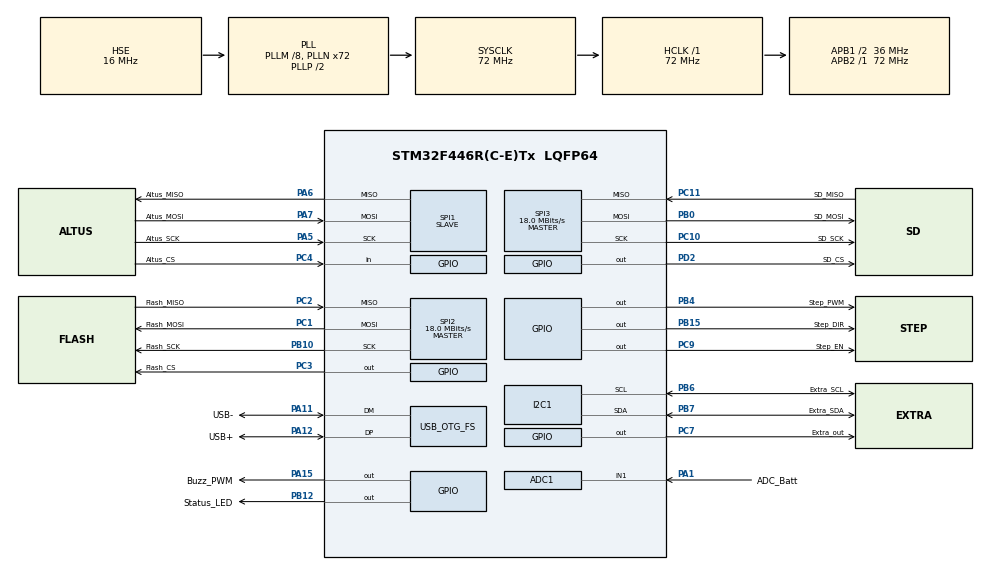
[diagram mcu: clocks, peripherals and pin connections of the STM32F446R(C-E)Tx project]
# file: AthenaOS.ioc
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ADC1.Channel-1\#ChannelRegularConversion=ADC_CHANNEL_1
ADC1.NbrOfConversionFlag=1
ADC1.Rank-1\#ChannelRegularConversion=1
ADC1.SamplingTime-1\#ChannelRegularConversion=ADC_SAMPLETIME_3CYCLES
ADC1.master=1
Mcu.Family=STM32F4
Mcu.Name=STM32F446R(C-E)Tx
Mcu.Package=LQFP64
NVIC.OTG_FS_IRQn=true\:0\:0\:false\:false\:true\:false\:true\:true
NVIC.PriorityGroup=NVIC_PRIORITYGROUP_4
PA1.GPIO_Label=ADC_Batt
PA1.Signal=ADCx_IN1
PA11.GPIO_Label=USB-
PA11.Mode=Device_Only
PA11.Signal=USB_OTG_FS_DM
PA12.GPIO_Label=USB+
PA12.Mode=Device_Only
PA12.Signal=USB_OTG_FS_DP
PA13.Mode=Serial_Wire
PA13.Signal=SYS_JTMS-SWDIO
PA14.Mode=Serial_Wire
PA14.Signal=SYS_JTCK-SWCLK
PA15.GPIO_Label=Buzz_PWM
PA15.GPIO_ModeDefaultOutputPP=GPIO_MODE_OUTPUT_PP
PA15.GPIO_PuPd=GPIO_NOPULL
PA15.GPIO_Speed=GPIO_SPEED_FREQ_HIGH
PA15.Signal=GPIO_Output
PA5.GPIO_Label=Altus_SCK
PA5.Mode=Full_Duplex_Slave
PA5.Signal=SPI1_SCK
PA6.GPIO_Label=Altus_MISO
PA6.Mode=Full_Duplex_Slave
PA6.Signal=SPI1_MISO
PA7.GPIO_Label=Altus_MOSI
PA7.Mode=Full_Duplex_Slave
PA7.Signal=SPI1_MOSI
PB0.GPIO_Label=SD_MOSI
PB0.Mode=Full_Duplex_Master
PB0.Signal=SPI3_MOSI
PB10.GPIO_Label=Flash_SCK
PB10.Mode=Full_Duplex_Master
PB10.Signal=SPI2_SCK
PB12.GPIO_Label=Status_LED
PB12.Signal=GPIO_Output
PB15.GPIO_Label=Step_DIR
PB15.Signal=GPIO_Output
PB4.GPIO_Label=Step_PWM
PB4.Signal=GPIO_Output
PB6.GPIO_Label=Extra_SCL
PB6.Mode=I2C
PB6.Signal=I2C1_SCL
PB7.GPIO_Label=Extra_SDA
PB7.Mode=I2C
PB7.Signal=I2C1_SDA
PC1.GPIO_Label=Flash_MOSI
PC1.Mode=Full_Duplex_Master
PC1.Signal=SPI2_MOSI
PC10.GPIO_Label=SD_SCK
PC10.Mode=Full_Duplex_Master
PC10.Signal=SPI3_SCK
PC11.GPIO_Label=SD_MISO
PC11.Mode=Full_Duplex_Master
PC11.Signal=SPI3_MISO
PC2.GPIO_Label=Flash_MISO
PC2.Mode=Full_Duplex_Master
PC2.Signal=SPI2_MISO
PC3.GPIO_Label=Flash_CS
PC3.Signal=GPIO_Output
PC4.GPIO_Label=Altus_CS
PC4.Signal=GPIO_Input
PC7.GPIO_Label=Extra_out
PC7.Signal=GPIO_Output
PC9.GPIO_Label=Step_EN
PC9.Signal=GPIO_Output
PD2.GPIO_Label=SD_CS
PD2.Signal=GPIO_Output
PH0-OSC_IN.Mode=HSE-External-Oscillator
PH0-OSC_IN.Signal=RCC_OSC_IN
PH1-OSC_OUT.Mode=HSE-External-Oscillator
PH1-OSC_OUT.Signal=RCC_OSC_OUT
ProjectManager.HeapSize=0x200
ProjectManager.StackSize=0x400
ProjectManager.TargetToolchain=STM32CubeIDE
RCC.AHBFreq_Value=72000000
RCC.APB1CLKDivider=RCC_HCLK_DIV2
RCC.APB1Freq_Value=36000000
RCC.APB1TimFreq_Value=72000000
RCC.APB2Freq_Value=72000000
RCC.APB2TimFreq_Value=72000000
RCC.CortexFreq_Value=72000000
RCC.HCLKFreq_Value=72000000
RCC.HSE_VALUE=16000000
RCC.PLLM=8
RCC.PLLN=72
RCC.PLLQ=3
RCC.SYSCLKFreq_VALUE=72000000
RCC.SYSCLKSource=RCC_SYSCLKSOURCE_PLLCLK
RCC.USBFreq_Value=48000000
RCC.VCOOutputFreq_Value=144000000
SH.ADCx_IN1.0=ADC1_IN1,IN1
SPI1.Direction=SPI_DIRECTION_2LINES
SPI1.Mode=SPI_MODE_SLAVE
SPI1.VirtualType=VM_SLAVE
SPI2.CalculateBaudRate=18.0 MBits/s
SPI2.Direction=SPI_DIRECTION_2LINES
SPI2.Mode=SPI_MODE_MASTER
SPI2.VirtualType=VM_MASTER
SPI3.CalculateBaudRate=18.0 MBits/s
SPI3.Direction=SPI_DIRECTION_2LINES
SPI3.Mode=SPI_MODE_MASTER
SPI3.VirtualType=VM_MASTER
TIM2.Channel-PWM\ Generation1\ No\ Output=TIM_CHANNEL_1
TIM2.Period=0xffff-1
TIM2.Prescaler=72-1
USB_DEVICE.CLASS_NAME_FS=CDC
USB_DEVICE.VirtualMode-CDC_FS=Cdc
USB_DEVICE.VirtualModeFS=Cdc_FS
USB_OTG_FS.VirtualMode=Device_Only
VP_TIM2_VS_ClockSourceINT.Mode=Internal
VP_TIM2_VS_no_output1.Mode=PWM Generation1 No Output
VP_USB_DEVICE_VS_USB_DEVICE_CDC_FS.Mode=CDC_FS
board=custom

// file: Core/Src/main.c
/* USER CODE BEGIN Header */
/**
  ******************************************************************************
  * @file           : main.c
  * @brief          : Main program body
  ******************************************************************************
  * @attention
  *
  * Copyright (c) 2022 STMicroelectronics.
  * All rights reserved.
  *
  * This software is licensed under terms that can be found in the LICENSE file
  * in the root directory of this software component.
  * If no LICENSE file comes with this software, it is provided AS-IS.
  *
  ******************************************************************************
  */
/* USER CODE END Header */
#include "main.h"
#include "usb_device.h"

/* USER CODE BEGIN Includes */

#include "Stepper.h"
#include "Status_LED.h"
#include "flash.h"

#include "usbd_cdc_if.h"

#include "string.h"

#include <stdio.h>

/* USER CODE END Includes */

/* USER CODE BEGIN PD */
double VBatt = 0;
/* USER CODE END PD */

 ADC_HandleTypeDef hadc1;

I2C_HandleTypeDef hi2c1;

SPI_HandleTypeDef hspi1;
SPI_HandleTypeDef hspi2;
SPI_HandleTypeDef hspi3;

TIM_HandleTypeDef htim2;

void SystemClock_Config(void);
static void MX_GPIO_Init(void);
static void MX_ADC1_Init(void);
static void MX_I2C1_Init(void);
static void MX_SPI1_Init(void);
static void MX_SPI2_Init(void);
static void MX_SPI3_Init(void);
static void MX_TIM2_Init(void);
/* USER CODE BEGIN PFP */
void startup(void);
void buzz(int freq, int duration);
/* USER CODE END PFP */

int main(void)
{
  /* USER CODE BEGIN 1 */

	HAL_GPIO_WritePin(GPIOB, Step_PWM_Pin, GPIO_PIN_SET);
	HAL_GPIO_WritePin(GPIOC, Step_EN_Pin, GPIO_PIN_SET);

  /* USER CODE END 1 */

  /* MCU Configuration--------------------------------------------------------*/

  /* Reset of all peripherals, Initializes the Flash interface and the Systick. */
  HAL_Init();

  /* Configure the system clock */
  SystemClock_Config();

  /* Initialize all configured peripherals */
  MX_GPIO_Init();
  MX_ADC1_Init();
  MX_I2C1_Init();
  MX_SPI1_Init();
  MX_SPI2_Init();
  MX_SPI3_Init();
  MX_TIM2_Init();
  MX_USB_DEVICE_Init();

  /* Infinite loop */
  /* USER CODE BEGIN WHILE */

  HAL_TIM_Base_Start(&htim2);

  startup();

  uint8_t grid[5] = {0x00, 0x01, 0x02, 0x03, 0x04};

  flashWriteArray(0x00, 0x00, 0x00, grid, 4);

  HAL_Delay(50);

  char txBuff[105];

  while (1)
  {
    /* USER CODE END WHILE */

    /* USER CODE BEGIN 3 */

	 sprintf(txBuff, "Read Data Addr1: %X, Read Data Addr2: %X, Read Data Addr3: %X, Read Data Addr4: %X, Read Data Addr5: %X\n", flashRead(0x00, 0x00, 0x00), flashRead(0x00, 0x00, 0x01), flashRead(0x00, 0x00, 0x02), flashRead(0x00, 0x00, 0x03), flashRead(0x00, 0x00, 0x04));

	 status_LED_Swap();
	 HAL_Delay(100);
	 status_LED_Swap();
	 HAL_Delay(100);

	 CDC_Transmit_FS((uint8_t *)txBuff, strlen(txBuff));
  }
  /* USER CODE END 3 */
}

void SystemClock_Config(void)
{
  RCC_OscInitTypeDef RCC_OscInitStruct = {0};
  RCC_ClkInitTypeDef RCC_ClkInitStruct = {0};

  /** Configure the main internal regulator output voltage
  */
  __HAL_RCC_PWR_CLK_ENABLE();
  __HAL_PWR_VOLTAGESCALING_CONFIG(PWR_REGULATOR_VOLTAGE_SCALE3);

  /** Initializes the RCC Oscillators according to the specified parameters
  * in the RCC_OscInitTypeDef structure.
  */
  RCC_OscInitStruct.OscillatorType = RCC_OSCILLATORTYPE_HSE;
  RCC_OscInitStruct.HSEState = RCC_HSE_ON;
  RCC_OscInitStruct.PLL.PLLState = RCC_PLL_ON;
  RCC_OscInitStruct.PLL.PLLSource = RCC_PLLSOURCE_HSE;
  RCC_OscInitStruct.PLL.PLLM = 8;
  RCC_OscInitStruct.PLL.PLLN = 72;
  RCC_OscInitStruct.PLL.PLLP = RCC_PLLP_DIV2;
  RCC_OscInitStruct.PLL.PLLQ = 3;
  RCC_OscInitStruct.PLL.PLLR = 2;
  if (HAL_RCC_OscConfig(&RCC_OscInitStruct) != HAL_OK)
  {
    Error_Handler();
  }

  /** Initializes the CPU, AHB and APB buses clocks
  */
  RCC_ClkInitStruct.ClockType = RCC_CLOCKTYPE_HCLK|RCC_CLOCKTYPE_SYSCLK
                              |RCC_CLOCKTYPE_PCLK1|RCC_CLOCKTYPE_PCLK2;
  RCC_ClkInitStruct.SYSCLKSource = RCC_SYSCLKSOURCE_PLLCLK;
  RCC_ClkInitStruct.AHBCLKDivider = RCC_SYSCLK_DIV1;
  RCC_ClkInitStruct.APB1CLKDivider = RCC_HCLK_DIV2;
  RCC_ClkInitStruct.APB2CLKDivider = RCC_HCLK_DIV1;

  if (HAL_RCC_ClockConfig(&RCC_ClkInitStruct, FLASH_LATENCY_2) != HAL_OK)
  {
    Error_Handler();
  }
}

static void MX_ADC1_Init(void)
{

  ADC_ChannelConfTypeDef sConfig = {0};

  /** Configure the global features of the ADC (Clock, Resolution, Data Alignment and number of conversion)
  */
  hadc1.Instance = ADC1;
  hadc1.Init.ClockPrescaler = ADC_CLOCK_SYNC_PCLK_DIV2;
  hadc1.Init.Resolution = ADC_RESOLUTION_12B;
  hadc1.Init.ScanConvMode = DISABLE;
  hadc1.Init.ContinuousConvMode = DISABLE;
  hadc1.Init.DiscontinuousConvMode = DISABLE;
  hadc1.Init.ExternalTrigConvEdge = ADC_EXTERNALTRIGCONVEDGE_NONE;
  hadc1.Init.ExternalTrigConv = ADC_SOFTWARE_START;
  hadc1.Init.DataAlign = ADC_DATAALIGN_RIGHT;
  hadc1.Init.NbrOfConversion = 1;
  hadc1.Init.DMAContinuousRequests = DISABLE;
  hadc1.Init.EOCSelection = ADC_EOC_SINGLE_CONV;
  if (HAL_ADC_Init(&hadc1) != HAL_OK)
  {
    Error_Handler();
  }

  /** Configure for the selected ADC regular channel its corresponding rank in the sequencer and its sample time.
  */
  sConfig.Channel = ADC_CHANNEL_1;
  sConfig.Rank = 1;
  sConfig.SamplingTime = ADC_SAMPLETIME_3CYCLES;
  if (HAL_ADC_ConfigChannel(&hadc1, &sConfig) != HAL_OK)
  {
    Error_Handler();
  }

}

static void MX_I2C1_Init(void)
{

  hi2c1.Instance = I2C1;
  hi2c1.Init.ClockSpeed = 100000;
  hi2c1.Init.DutyCycle = I2C_DUTYCYCLE_2;
  hi2c1.Init.OwnAddress1 = 0;
  hi2c1.Init.AddressingMode = I2C_ADDRESSINGMODE_7BIT;
  hi2c1.Init.DualAddressMode = I2C_DUALADDRESS_DISABLE;
  hi2c1.Init.OwnAddress2 = 0;
  hi2c1.Init.GeneralCallMode = I2C_GENERALCALL_DISABLE;
  hi2c1.Init.NoStretchMode = I2C_NOSTRETCH_DISABLE;
  if (HAL_I2C_Init(&hi2c1) != HAL_OK)
  {
    Error_Handler();
  }

}

static void MX_SPI1_Init(void)
{

  /* SPI1 parameter configuration*/
  hspi1.Instance = SPI1;
  hspi1.Init.Mode = SPI_MODE_SLAVE;
  hspi1.Init.Direction = SPI_DIRECTION_2LINES;
  hspi1.Init.DataSize = SPI_DATASIZE_8BIT;
  hspi1.Init.CLKPolarity = SPI_POLARITY_LOW;
  hspi1.Init.CLKPhase = SPI_PHASE_1EDGE;
  hspi1.Init.NSS = SPI_NSS_SOFT;
  hspi1.Init.FirstBit = SPI_FIRSTBIT_MSB;
  hspi1.Init.TIMode = SPI_TIMODE_DISABLE;
  hspi1.Init.CRCCalculation = SPI_CRCCALCULATION_DISABLE;
  hspi1.Init.CRCPolynomial = 10;
  if (HAL_SPI_Init(&hspi1) != HAL_OK)
  {
    Error_Handler();
  }

}

static void MX_SPI2_Init(void)
{

  /* SPI2 parameter configuration*/
  hspi2.Instance = SPI2;
  hspi2.Init.Mode = SPI_MODE_MASTER;
  hspi2.Init.Direction = SPI_DIRECTION_2LINES;
  hspi2.Init.DataSize = SPI_DATASIZE_8BIT;
  hspi2.Init.CLKPolarity = SPI_POLARITY_LOW;
  hspi2.Init.CLKPhase = SPI_PHASE_1EDGE;
  hspi2.Init.NSS = SPI_NSS_SOFT;
  hspi2.Init.BaudRatePrescaler = SPI_BAUDRATEPRESCALER_4;
  hspi2.Init.FirstBit = SPI_FIRSTBIT_MSB;
  hspi2.Init.TIMode = SPI_TIMODE_DISABLE;
  hspi2.Init.CRCCalculation = SPI_CRCCALCULATION_DISABLE;
  hspi2.Init.CRCPolynomial = 10;
  if (HAL_SPI_Init(&hspi2) != HAL_OK)
  {
    Error_Handler();
  }

}

static void MX_SPI3_Init(void)
{

  /* SPI3 parameter configuration*/
  hspi3.Instance = SPI3;
  hspi3.Init.Mode = SPI_MODE_MASTER;
  hspi3.Init.Direction = SPI_DIRECTION_2LINES;
  hspi3.Init.DataSize = SPI_DATASIZE_8BIT;
  hspi3.Init.CLKPolarity = SPI_POLARITY_LOW;
  hspi3.Init.CLKPhase = SPI_PHASE_1EDGE;
  hspi3.Init.NSS = SPI_NSS_SOFT;
  hspi3.Init.BaudRatePrescaler = SPI_BAUDRATEPRESCALER_2;
  hspi3.Init.FirstBit = SPI_FIRSTBIT_MSB;
  hspi3.Init.TIMode = SPI_TIMODE_DISABLE;
  hspi3.Init.CRCCalculation = SPI_CRCCALCULATION_DISABLE;
  hspi3.Init.CRCPolynomial = 10;
  if (HAL_SPI_Init(&hspi3) != HAL_OK)
  {
    Error_Handler();
  }

}

static void MX_TIM2_Init(void)
{

  TIM_ClockConfigTypeDef sClockSourceConfig = {0};
  TIM_MasterConfigTypeDef sMasterConfig = {0};
  TIM_OC_InitTypeDef sConfigOC = {0};

  htim2.Instance = TIM2;
  htim2.Init.Prescaler = 72-1;
  htim2.Init.CounterMode = TIM_COUNTERMODE_UP;
  htim2.Init.Period = 0xffff-1;
  htim2.Init.ClockDivision = TIM_CLOCKDIVISION_DIV1;
  htim2.Init.AutoReloadPreload = TIM_AUTORELOAD_PRELOAD_DISABLE;
  if (HAL_TIM_Base_Init(&htim2) != HAL_OK)
  {
    Error_Handler();
  }
  sClockSourceConfig.ClockSource = TIM_CLOCKSOURCE_INTERNAL;
  if (HAL_TIM_ConfigClockSource(&htim2, &sClockSourceConfig) != HAL_OK)
  {
    Error_Handler();
  }
  if (HAL_TIM_PWM_Init(&htim2) != HAL_OK)
  {
    Error_Handler();
  }
  sMasterConfig.MasterOutputTrigger = TIM_TRGO_RESET;
  sMasterConfig.MasterSlaveMode = TIM_MASTERSLAVEMODE_DISABLE;
  if (HAL_TIMEx_MasterConfigSynchronization(&htim2, &sMasterConfig) != HAL_OK)
  {
    Error_Handler();
  }
  sConfigOC.OCMode = TIM_OCMODE_PWM1;
  sConfigOC.Pulse = 0;
  sConfigOC.OCPolarity = TIM_OCPOLARITY_HIGH;
  sConfigOC.OCFastMode = TIM_OCFAST_DISABLE;
  if (HAL_TIM_PWM_ConfigChannel(&htim2, &sConfigOC, TIM_CHANNEL_1) != HAL_OK)
  {
    Error_Handler();
  }

}

static void MX_GPIO_Init(void)
{
  GPIO_InitTypeDef GPIO_InitStruct = {0};

  /* GPIO Ports Clock Enable */
  __HAL_RCC_GPIOH_CLK_ENABLE();
  __HAL_RCC_GPIOC_CLK_ENABLE();
  __HAL_RCC_GPIOA_CLK_ENABLE();
  __HAL_RCC_GPIOB_CLK_ENABLE();
  __HAL_RCC_GPIOD_CLK_ENABLE();

  /*Configure GPIO pin Output Level */
  HAL_GPIO_WritePin(GPIOC, Flash_CS_Pin|Extra_out_Pin|Step_EN_Pin, GPIO_PIN_RESET);

  /*Configure GPIO pin Output Level */
  HAL_GPIO_WritePin(GPIOB, Status_LED_Pin|Step_DIR_Pin|Step_PWM_Pin, GPIO_PIN_RESET);

  /*Configure GPIO pin Output Level */
  HAL_GPIO_WritePin(Buzz_PWM_GPIO_Port, Buzz_PWM_Pin, GPIO_PIN_RESET);

  /*Configure GPIO pin Output Level */
  HAL_GPIO_WritePin(SD_CS_GPIO_Port, SD_CS_Pin, GPIO_PIN_RESET);

  /*Configure GPIO pins : Flash_CS_Pin Extra_out_Pin Step_EN_Pin */
  GPIO_InitStruct.Pin = Flash_CS_Pin|Extra_out_Pin|Step_EN_Pin;
  GPIO_InitStruct.Mode = GPIO_MODE_OUTPUT_PP;
  GPIO_InitStruct.Pull = GPIO_NOPULL;
  GPIO_InitStruct.Speed = GPIO_SPEED_FREQ_LOW;
  HAL_GPIO_Init(GPIOC, &GPIO_InitStruct);

  /*Configure GPIO pin : Altus_CS_Pin */
  GPIO_InitStruct.Pin = Altus_CS_Pin;
  GPIO_InitStruct.Mode = GPIO_MODE_INPUT;
  GPIO_InitStruct.Pull = GPIO_NOPULL;
  HAL_GPIO_Init(Altus_CS_GPIO_Port, &GPIO_InitStruct);

  /*Configure GPIO pins : Status_LED_Pin Step_DIR_Pin Step_PWM_Pin */
  GPIO_InitStruct.Pin = Status_LED_Pin|Step_DIR_Pin|Step_PWM_Pin;
  GPIO_InitStruct.Mode = GPIO_MODE_OUTPUT_PP;
  GPIO_InitStruct.Pull = GPIO_NOPULL;
  GPIO_InitStruct.Speed = GPIO_SPEED_FREQ_LOW;
  HAL_GPIO_Init(GPIOB, &GPIO_InitStruct);

  /*Configure GPIO pin : Buzz_PWM_Pin */
  GPIO_InitStruct.Pin = Buzz_PWM_Pin;
  GPIO_InitStruct.Mode = GPIO_MODE_OUTPUT_PP;
  GPIO_InitStruct.Pull = GPIO_NOPULL;
  GPIO_InitStruct.Speed = GPIO_SPEED_FREQ_HIGH;
  HAL_GPIO_Init(Buzz_PWM_GPIO_Port, &GPIO_InitStruct);

  /*Configure GPIO pin : SD_CS_Pin */
  GPIO_InitStruct.Pin = SD_CS_Pin;
  GPIO_InitStruct.Mode = GPIO_MODE_OUTPUT_PP;
  GPIO_InitStruct.Pull = GPIO_NOPULL;
  GPIO_InitStruct.Speed = GPIO_SPEED_FREQ_LOW;
  HAL_GPIO_Init(SD_CS_GPIO_Port, &GPIO_InitStruct);

}

/* USER CODE BEGIN 4 */
void delay (uint16_t us)
{
  __HAL_TIM_SET_COUNTER(&htim2, 0);
  while (__HAL_TIM_GET_COUNTER(&htim2) < us);
}

void startup(void){
	double f = 256.41;
	for(int i = 0; i < 5; i++){
			for(int i = 0; i < 500; i++){
				HAL_GPIO_WritePin(Buzz_PWM_GPIO_Port, Buzz_PWM_Pin, GPIO_PIN_SET);
				delay(f*0.5);
				HAL_GPIO_WritePin(Buzz_PWM_GPIO_Port, Buzz_PWM_Pin, GPIO_PIN_RESET);
				delay(f*0.5);
			}
			HAL_Delay(100);
	}

	HAL_Delay(1000);

	HAL_ADC_Start(&hadc1);
	HAL_ADC_PollForConversion(&hadc1, HAL_MAX_DELAY);

	VBatt = (((double)HAL_ADC_GetValue(&hadc1)*2)/4095)*3.3;

	f = 250;
	for(int i = 0; i < (int)VBatt; i++){
		for(int i = 0; i < 700; i++){
			HAL_GPIO_WritePin(Buzz_PWM_GPIO_Port, Buzz_PWM_Pin, GPIO_PIN_SET);
			delay(f*0.60);
			HAL_GPIO_WritePin(Buzz_PWM_GPIO_Port, Buzz_PWM_Pin, GPIO_PIN_RESET);
			delay(f*0.40);
		}
		HAL_Delay(400);
	}

	HAL_Delay(600);

	f = 250;
	for(int i = 0; i < (int)((VBatt-(int)VBatt)*10); i++){
		for(int i = 0; i < 700; i++){
			HAL_GPIO_WritePin(Buzz_PWM_GPIO_Port, Buzz_PWM_Pin, GPIO_PIN_SET);
			delay(f*0.60);
			HAL_GPIO_WritePin(Buzz_PWM_GPIO_Port, Buzz_PWM_Pin, GPIO_PIN_RESET);
			delay(f*0.40);
		}
		HAL_Delay(400);
	}

	HAL_Delay(1000);

	f = 256.41;
	for(int i = 0; i < 500; i++){
		HAL_GPIO_WritePin(Buzz_PWM_GPIO_Port, Buzz_PWM_Pin, GPIO_PIN_SET);
		delay(f*0.60);
		HAL_GPIO_WritePin(Buzz_PWM_GPIO_Port, Buzz_PWM_Pin, GPIO_PIN_RESET);
		delay(f*0.40);
	}

	HAL_Delay(100);

	f = 250;
	for(int i = 0; i < 500; i++){
		HAL_GPIO_WritePin(Buzz_PWM_GPIO_Port, Buzz_PWM_Pin, GPIO_PIN_SET);
		delay(f*0.60);
		HAL_GPIO_WritePin(Buzz_PWM_GPIO_Port, Buzz_PWM_Pin, GPIO_PIN_RESET);
		delay(f*0.40);
	}

	HAL_Delay(100);

	f = 243.9;
	for(int i = 0; i < 500; i++){
		HAL_GPIO_WritePin(Buzz_PWM_GPIO_Port, Buzz_PWM_Pin, GPIO_PIN_SET);
		delay(f*0.60);
		HAL_GPIO_WritePin(Buzz_PWM_GPIO_Port, Buzz_PWM_Pin, GPIO_PIN_RESET);
		delay(f*0.40);
	}

	HAL_Delay(100);

	f = 238.095;
	for(int i = 0; i < 500; i++){
		HAL_GPIO_WritePin(Buzz_PWM_GPIO_Port, Buzz_PWM_Pin, GPIO_PIN_SET);
		delay(f*0.60);
		HAL_GPIO_WritePin(Buzz_PWM_GPIO_Port, Buzz_PWM_Pin, GPIO_PIN_RESET);
		delay(f*0.40);
	}

	HAL_Delay(1000);

	stepper_Step (1, 50); //Step in direction 1, 50 steps

	HAL_Delay(1000);

	stepper_Step (1, 50); //Step in direction 1, 50 steps

	HAL_Delay(1000);

	stepper_Step (0, 50); //Step in direction 0, 50 steps

	HAL_Delay(1000);

	stepper_Step (0, 50); //Step in direction 0, 50 steps

	f = 232.55814;
	for(int i = 0; i < 10000; i++){
		HAL_GPIO_WritePin(Buzz_PWM_GPIO_Port, Buzz_PWM_Pin, GPIO_PIN_SET);
		delay(f*0.60);
		HAL_GPIO_WritePin(Buzz_PWM_GPIO_Port, Buzz_PWM_Pin, GPIO_PIN_RESET);
		delay(f*0.40);
	}

	HAL_Delay(100);
}

uint8_t W25Q_Spi(uint8_t Data)
{
	uint8_t ret;
	HAL_SPI_TransmitReceive(&hspi2, &Data, &ret, 1, HAL_MAX_DELAY);
	return ret;
}

/* USER CODE END 4 */

void Error_Handler(void)
{
  __disable_irq();
  while (1)
  {
  }
}
